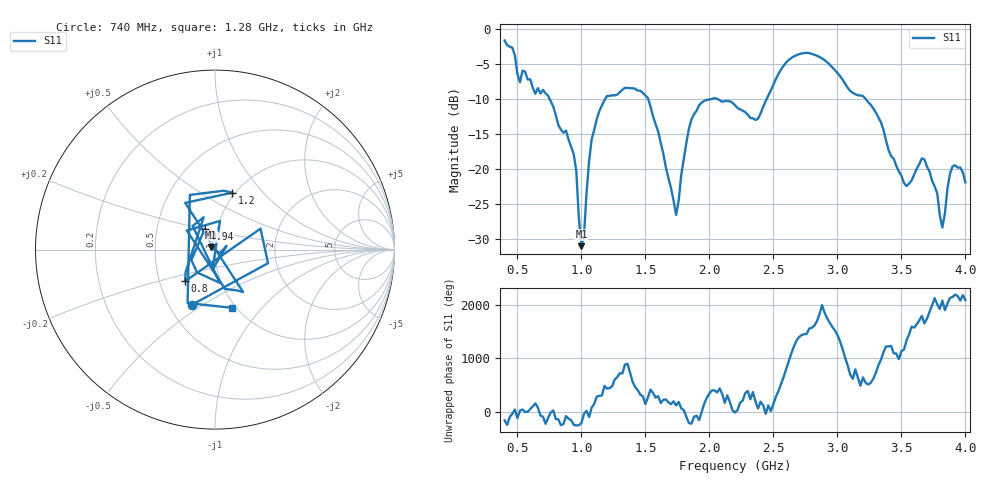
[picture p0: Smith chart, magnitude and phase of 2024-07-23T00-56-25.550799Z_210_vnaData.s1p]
!Created with skrf (http://scikit-rf.org).
# Hz S RI R 50.0
!freq ReS11 ImS11
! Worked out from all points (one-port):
!   181 points, 400 MHz to 4 GHz, reference 50 ohm
!   lowest |S11| = -31.0 dB at 1 GHz (marker M1), VSWR 1.06, Z = 47.6 + j1.42 ohm
!   |S11| at or under -10 dB: 751.7 MHz to 1.187 GHz (434.9 MHz wide, 44.9 % of centre); 1.522 GHz to 2.022 GHz (500.5 MHz wide, 28.2 % of centre); 3.221 GHz to end of sweep (the widest 3 of 4)
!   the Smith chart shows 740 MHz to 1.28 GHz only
!   S11 on the Smith chart (normalised r, x): 740 MHz: 0.65, -0.45; 800 MHz: 0.68, -0.25; 940 MHz: 0.87, +0.20; 1.2 GHz: 0.97, +0.69; 1.28 GHz: 0.96, -0.71
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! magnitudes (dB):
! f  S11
! 400 MHz  -1.7
! 520 MHz  -7.6
! 740 MHz  -9.6
! 800 MHz  -12.3
! 860 MHz  -14.8
! 940 MHz  -17.9
! 1 GHz  -31.0
! 1.02 GHz  -29.6
! 1.08 GHz  -15.8
! 1.2 GHz  -9.6
! 1.28 GHz  -9.4
! 1.3 GHz  -9.0
! 1.52 GHz  -9.9
! 1.74 GHz  -26.5
! 1.76 GHz  -24.5
! 1.84 GHz  -14.3
! 1.92 GHz  -10.9
! 2.2 GHz  -10.9
! 2.38 GHz  -12.8
! 2.66 GHz  -3.9
! 2.88 GHz  -4.2
! 3.1 GHz  -8.9
! 3.3 GHz  -11.9
! 3.56 GHz  -22.1
! 3.68 GHz  -18.6
! 3.82 GHz  -28.3
! 3.9 GHz  -19.6
! 4 GHz  -21.9
